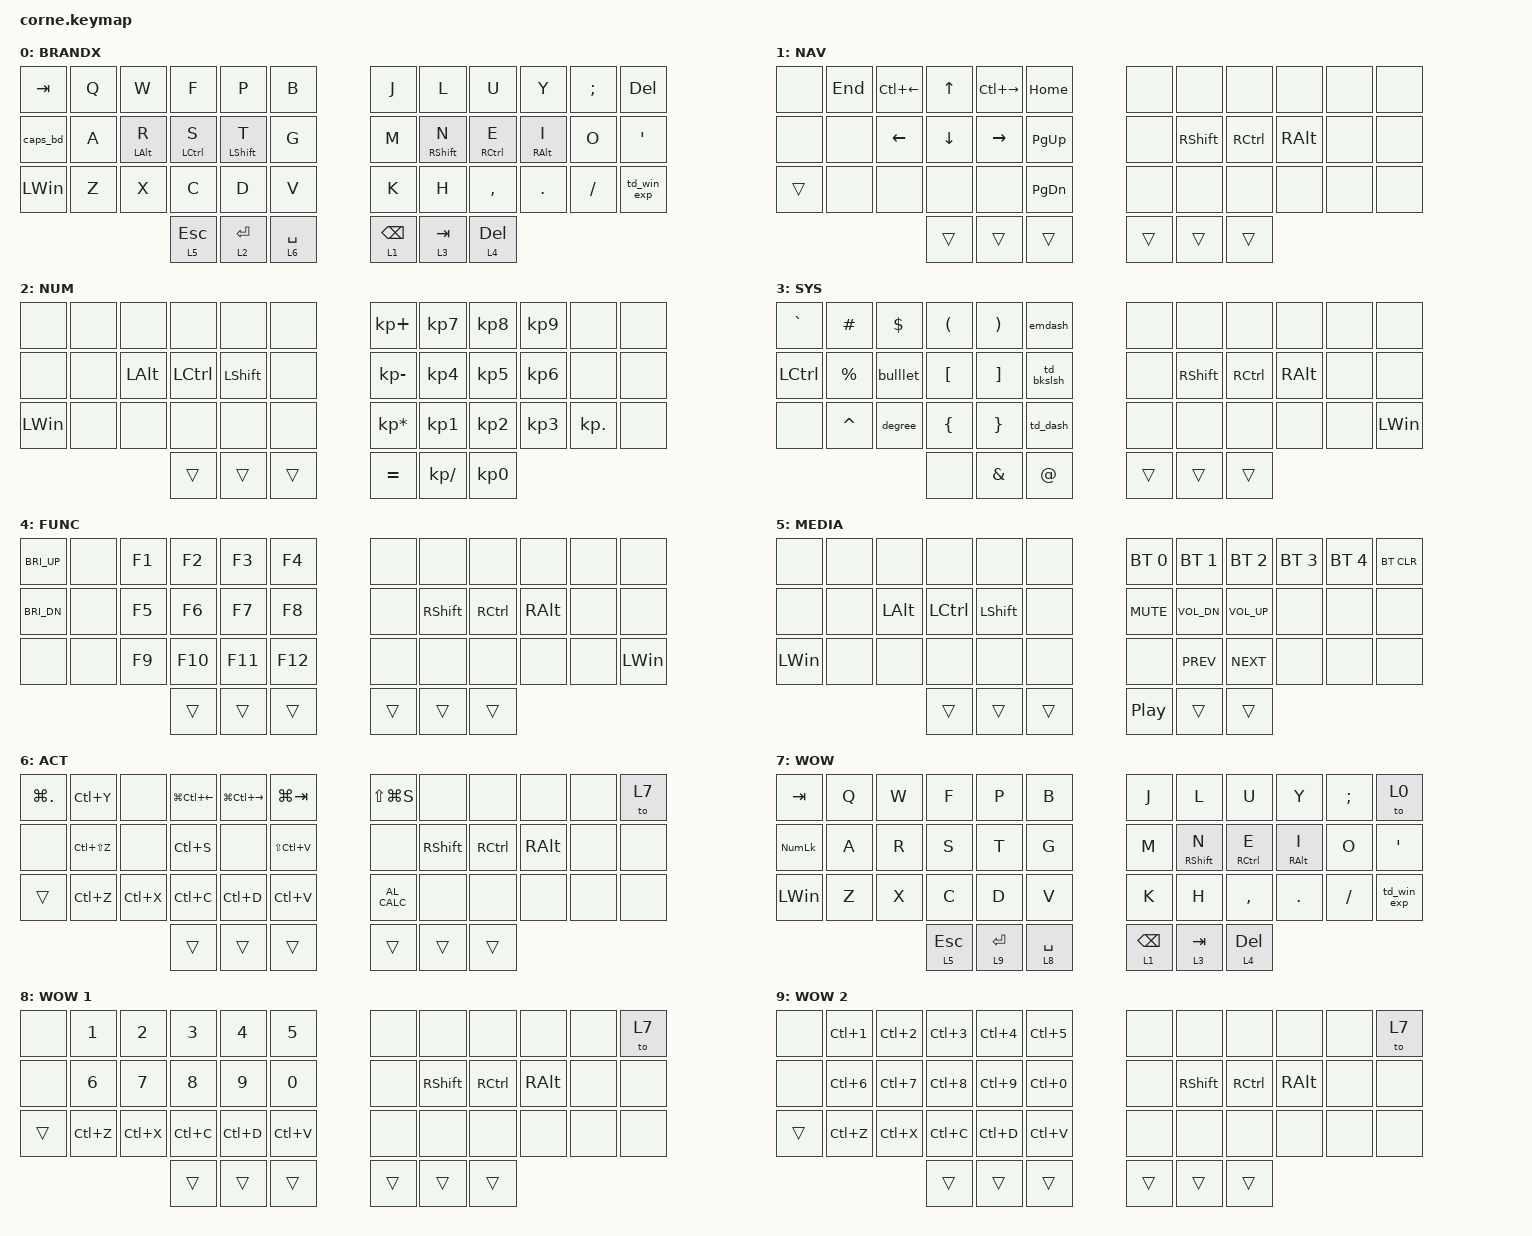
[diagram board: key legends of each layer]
/*
 * Copyright (c) 2020 The ZMK Contributors
 *
 * SPDX-License-Identifier: MIT
 */

#include <behaviors.dtsi>
#include <dt-bindings/zmk/bt.h>
#include <dt-bindings/zmk/keys.h>

/ {
    behaviors {
        hrm: hrm {
            compatible = "zmk,behavior-hold-tap";
            label = "HRM";
            bindings = <&kp>, <&kp>;

            #binding-cells = <2>;
            tapping-term-ms = <220>;
            flavor = "tap-preferred";
            require-prior-idle-ms = <125>;
        };

        caps_bd: caps_bd {
            compatible = "zmk,behavior-tap-dance";
            label = "CAPS_BD";
            #binding-cells = <0>;
            bindings = <&caps_word>, <&kp CAPS>;
        };

        td_dash: td_dash {
            compatible = "zmk,behavior-tap-dance";
            label = "TD_DASH";
            #binding-cells = <0>;
            bindings = <&kp UNDER>, <&kp MINUS>;
        };

        td_bkslsh: td_bkslsh {
            compatible = "zmk,behavior-tap-dance";
            label = "TD_BKSLSH";
            #binding-cells = <0>;
            bindings = <&kp BACKSLASH>, <&kp PIPE>;
        };

        td_win_exp: td_win_exp {
            compatible = "zmk,behavior-tap-dance";
            label = "TD_WIN_EXP";
            #binding-cells = <0>;
            bindings = <&kp EXCLAMATION>, <&kp LEFT_WIN>;
        };

        td_wow_run: td_wow_run {
            compatible = "zmk,behavior-tap-dance";
            label = "TD_WOW_RUN";
            #binding-cells = <0>;
            bindings = <&kp LOCKING_NUM>;
        };
    };

    macros {
        bulllet: bulllet {
            compatible = "zmk,behavior-macro";
            #binding-cells = <0>;
            bindings =
                <&macro_press>,
                <&kp LEFT_ALT>,
                <&macro_tap>,
                <&kp KP_NUMBER_0 &kp KP_NUMBER_1 &kp KP_NUMBER_4 &kp KP_NUMBER_9>,
                <&macro_release>,
                <&kp LEFT_ALT>;

            label = "BULLLET";
        };

        emdash: emdash {
            compatible = "zmk,behavior-macro";
            #binding-cells = <0>;
            bindings =
                <&macro_press>,
                <&kp LEFT_ALT>,
                <&macro_tap>,
                <&kp KP_NUMBER_0 &kp KP_NUMBER_1 &kp KP_NUMBER_5 &kp KP_NUMBER_1>,
                <&macro_release>,
                <&kp LEFT_ALT>;

            label = "EMDASH";
        };

        degree: degree {
            compatible = "zmk,behavior-macro";
            #binding-cells = <0>;
            bindings =
                <&macro_press>,
                <&kp LEFT_ALT>,
                <&macro_tap>,
                <&kp KP_NUMBER_0 &kp KP_NUMBER_1 &kp KP_NUMBER_7 &kp KP_NUMBER_6>,
                <&macro_release>,
                <&kp LEFT_ALT>;

            label = "DEGREE";
        };

        fbmail: fbmail {
            compatible = "zmk,behavior-macro";
            #binding-cells = <0>;
            bindings = <&kp F &kp L &kp A &kp S &kp H &kp B &kp R &kp A &kp N &kp D &kp O &kp AT &kp G &kp M &kp A &kp I &kp L &kp DOT &kp C &kp O &kp M>;
            label = "FBMAIL";
        };

        wbmail: wbmail {
            compatible = "zmk,behavior-macro";
            #binding-cells = <0>;
            bindings = <&kp B &kp R &kp A &kp N &kp D &kp O &kp N &kp AT &kp W &kp U &kp N &kp D &kp E &kp R &kp B &kp E &kp A &kp S &kp T &kp DOT &kp C &kp O &kp M>;
            label = "WBMAIL";
        };
    };

    combos {
        compatible = "zmk,combos";

        fb_email {
            bindings = <&fbmail>;
            key-positions = <5 3>;
        };

        wb_email {
            bindings = <&wbmail>;
            key-positions = <5 2>;
        };
    };

    keymap {
        compatible = "zmk,keymap";

        default_layer {
            // -----------------------------------------------------------------------------------------
            // |  TAB |  Q  |  W  |  E  |  R  |  T  |   |  Y  |  U   |  I  |  O  |  P  | BKSP |
            // | CTRL |  A  |  S  |  D  |  F  |  G  |   |  H  |  J   |  K  |  L  |  ;  |  '   |
            // | SHFT |  Z  |  X  |  C  |  V  |  B  |   |  N  |  M   |  ,  |  .  |  /  | ESC  |
            //                    | GUI | LWR | SPC |   | ENT | RSE  | ALT |

            display-name = "BRANDX";
            bindings = <
&kp TAB       &kp Q  &kp W            &kp F                &kp P              &kp B          &kp J            &kp L               &kp U                 &kp Y             &kp SEMI  &kp DEL
&caps_bd      &kp A  &hrm LEFT_ALT R  &hrm LEFT_CONTROL S  &hrm LEFT_SHIFT T  &kp G          &kp M            &hrm RIGHT_SHIFT N  &hrm RIGHT_CONTROL E  &hrm RIGHT_ALT I  &kp O     &kp SQT
&kp LEFT_WIN  &kp Z  &kp X            &kp C                &kp D              &kp V          &kp K            &kp H               &kp COMMA             &kp DOT           &kp FSLH  &td_win_exp
                                      &lt 5 ESC            &lt 2 RET          &lt 6 SPACE    &lt 1 BACKSPACE  &lt 3 TAB           &lt 4 DEL
            >;
        };

        nav_layer {
            // -----------------------------------------------------------------------------------------
            // |  TAB |  1  |  2  |  3  |  4  |  5  |   |  6  |  7  |  8  |  9  |  0  | BKSP |
            // | BTCLR| BT1 | BT2 | BT3 | BT4 | BT5 |   | LFT | DWN |  UP | RGT |     |      |
            // | SHFT |     |     |     |     |     |   |     |     |     |     |     |      |
            //                    | GUI |     | SPC |   | ENT |     | ALT |

            display-name = "NAV";
            bindings = <
&none   &kp END  &kp LC(LEFT_ARROW)  &kp UP_ARROW    &kp LC(RIGHT_ARROW)  &kp HOME         &none   &none            &none              &none          &none  &none
&none   &none    &kp LEFT_ARROW      &kp DOWN_ARROW  &kp RIGHT_ARROW      &kp PAGE_UP      &none   &kp RIGHT_SHIFT  &kp RIGHT_CONTROL  &kp RIGHT_ALT  &none  &none
&trans  &none    &none               &none           &none                &kp PAGE_DOWN    &none   &none            &none              &none          &none  &none
                                     &trans          &trans               &trans           &trans  &trans           &trans
            >;
        };

        num_layer {
            // -----------------------------------------------------------------------------------------
            // |  TAB |  !  |  @  |  #  |  $  |  %  |   |  ^  |  &  |  *  |  (  |  )  | BKSP |
            // | CTRL |     |     |     |     |     |   |  -  |  =  |  [  |  ]  |  \  |  `   |
            // | SHFT |     |     |     |     |     |   |  _  |  +  |  {  |  }  | "|" |  ~   |
            //                    | GUI |     | SPC |   | ENT |     | ALT |

            display-name = "NUM";
            bindings = <
&none         &none  &none         &none             &none           &none     &kp KP_PLUS      &kp KP_NUMBER_7  &kp KP_NUMBER_8  &kp KP_NUMBER_9  &none       &none
&none         &none  &kp LEFT_ALT  &kp LEFT_CONTROL  &kp LEFT_SHIFT  &none     &kp KP_MINUS     &kp KP_NUMBER_4  &kp KP_NUMBER_5  &kp KP_NUMBER_6  &none       &none
&kp LEFT_WIN  &none  &none         &none             &none           &none     &kp KP_MULTIPLY  &kp KP_NUMBER_1  &kp KP_NUMBER_2  &kp KP_NUMBER_3  &kp KP_DOT  &none
                                   &trans            &trans          &trans    &kp EQUAL        &kp KP_DIVIDE    &kp KP_NUMBER_0
            >;
        };

        sys_layer {
            display-name = "SYS";
            bindings = <
&kp GRAVE  &kp POUND    &kp DOLLAR  &kp LEFT_PARENTHESIS  &kp RIGHT_PARENTHESIS  &emdash        &none   &none            &none              &none          &none  &none
&kp LCTRL  &kp PERCENT  &bulllet    &kp LEFT_BRACKET      &kp RIGHT_BRACKET      &td_bkslsh     &none   &kp RIGHT_SHIFT  &kp RIGHT_CONTROL  &kp RIGHT_ALT  &none  &none
&none      &kp CARET    &degree     &kp LEFT_BRACE        &kp RIGHT_BRACE        &td_dash       &none   &none            &none              &none          &none  &kp LEFT_WIN
                                    &none                 &kp AMPERSAND          &kp AT_SIGN    &trans  &trans           &trans
            >;
        };

        func_layer {
            display-name = "FUNC";
            bindings = <
&kp C_BRI_UP  &none  &kp F1  &kp F2   &kp F3   &kp F4     &none   &none            &none              &none          &none  &none
&kp C_BRI_DN  &none  &kp F5  &kp F6   &kp F7   &kp F8     &none   &kp RIGHT_SHIFT  &kp RIGHT_CONTROL  &kp RIGHT_ALT  &none  &none
&none         &none  &kp F9  &kp F10  &kp F11  &kp F12    &none   &none            &none              &none          &none  &kp LEFT_WIN
                             &trans   &trans   &trans     &trans  &trans           &trans
            >;
        };

        media_layer {
            display-name = "MEDIA";
            bindings = <
&none         &none  &none         &none             &none           &none     &bt BT_SEL 0      &bt BT_SEL 1  &bt BT_SEL 2  &bt BT_SEL 3  &bt BT_SEL 4  &bt BT_CLR
&none         &none  &kp LEFT_ALT  &kp LEFT_CONTROL  &kp LEFT_SHIFT  &none     &kp C_MUTE        &kp C_VOL_DN  &kp C_VOL_UP  &none         &none         &none
&kp LEFT_WIN  &none  &none         &none             &none           &none     &none             &kp C_PREV    &kp C_NEXT    &none         &none         &none
                                   &trans            &trans          &trans    &kp C_PLAY_PAUSE  &trans        &trans
            >;
        };

        act_layer {
            display-name = "ACT";
            bindings = <
&kp LG(DOT)  &kp LC(Y)      &none      &kp LG(LC(LEFT_ARROW))  &kp LG(LC(RIGHT_ARROW))  &kp LG(TAB)      &kp LS(LG(S))  &none            &none              &none          &none  &to 7
&none        &kp LC(LS(Z))  &none      &kp LC(S)               &none                    &kp LS(LC(V))    &none          &kp RIGHT_SHIFT  &kp RIGHT_CONTROL  &kp RIGHT_ALT  &none  &none
&trans       &kp LC(Z)      &kp LC(X)  &kp LC(C)               &kp LC(D)                &kp LC(V)        &kp C_AL_CALC  &none            &none              &none          &none  &none
                                       &trans                  &trans                   &trans           &trans         &trans           &trans
            >;
        };

        wow_layer {
            display-name = "WOW";
            bindings = <
&kp TAB         &kp Q  &kp W  &kp F      &kp P      &kp B          &kp J            &kp L               &kp U                 &kp Y             &kp SEMI  &to 0
&kp KP_NUMLOCK  &kp A  &kp R  &kp S      &kp T      &kp G          &kp M            &hrm RIGHT_SHIFT N  &hrm RIGHT_CONTROL E  &hrm RIGHT_ALT I  &kp O     &kp SQT
&kp LEFT_WIN    &kp Z  &kp X  &kp C      &kp D      &kp V          &kp K            &kp H               &kp COMMA             &kp DOT           &kp FSLH  &td_win_exp
                              &lt 5 ESC  &lt 9 RET  &lt 8 SPACE    &lt 1 BACKSPACE  &lt 3 TAB           &lt 4 DEL
            >;
        };

        wow_mod_1 {
            display-name = "WOW 1";
            bindings = <
&none   &kp NUMBER_1  &kp NUMBER_2  &kp NUMBER_3  &kp NUMBER_4  &kp NUMBER_5    &none   &none            &none              &none          &none  &to 7
&none   &kp NUMBER_6  &kp NUMBER_7  &kp NUMBER_8  &kp NUMBER_9  &kp NUMBER_0    &none   &kp RIGHT_SHIFT  &kp RIGHT_CONTROL  &kp RIGHT_ALT  &none  &none
&trans  &kp LC(Z)     &kp LC(X)     &kp LC(C)     &kp LC(D)     &kp LC(V)       &none   &none            &none              &none          &none  &none
                                    &trans        &trans        &trans          &trans  &trans           &trans
            >;
        };

        wow_mod_2 {
            display-name = "WOW 2";
            bindings = <
&none   &kp LC(NUMBER_1)  &kp LC(NUMBER_2)  &kp LC(NUMBER_3)  &kp LC(NUMBER_4)  &kp LC(NUMBER_5)    &none   &none            &none              &none          &none  &to 7
&none   &kp LC(NUMBER_6)  &kp LC(NUMBER_7)  &kp LC(NUMBER_8)  &kp LC(NUMBER_9)  &kp LC(NUMBER_0)    &none   &kp RIGHT_SHIFT  &kp RIGHT_CONTROL  &kp RIGHT_ALT  &none  &none
&trans  &kp LC(Z)         &kp LC(X)         &kp LC(C)         &kp LC(D)         &kp LC(V)           &none   &none            &none              &none          &none  &none
                                            &trans            &trans            &trans              &trans  &trans           &trans
            >;
        };
    };
};
